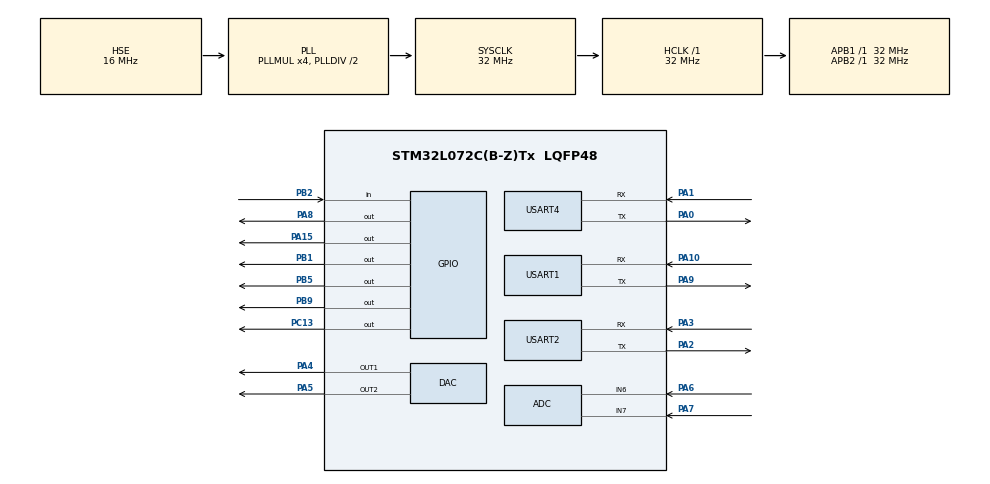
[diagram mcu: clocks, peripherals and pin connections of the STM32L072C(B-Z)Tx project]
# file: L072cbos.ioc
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CRC.InputDataFormat=CRC_INPUTDATA_FORMAT_WORDS
CRC.InputDataInversionMode=CRC_INPUTDATA_INVERSION_WORD
CRC.OutputDataInversionMode=CRC_OUTPUTDATA_INVERSION_ENABLE
Dma.Request0=USART1_RX
Dma.Request1=USART1_TX
Dma.Request2=USART2_RX
Dma.Request3=USART2_TX
Dma.USART1_RX.0.Direction=DMA_PERIPH_TO_MEMORY
Dma.USART1_RX.0.Instance=DMA1_Channel3
Dma.USART1_RX.0.MemDataAlignment=DMA_MDATAALIGN_BYTE
Dma.USART1_RX.0.MemInc=DMA_MINC_ENABLE
Dma.USART1_RX.0.Mode=DMA_NORMAL
Dma.USART1_RX.0.PeriphDataAlignment=DMA_PDATAALIGN_BYTE
Dma.USART1_RX.0.PeriphInc=DMA_PINC_DISABLE
Dma.USART1_RX.0.Priority=DMA_PRIORITY_LOW
Dma.USART1_TX.1.Direction=DMA_MEMORY_TO_PERIPH
Dma.USART1_TX.1.Instance=DMA1_Channel2
Dma.USART1_TX.1.MemDataAlignment=DMA_MDATAALIGN_BYTE
Dma.USART1_TX.1.MemInc=DMA_MINC_ENABLE
Dma.USART1_TX.1.Mode=DMA_NORMAL
Dma.USART1_TX.1.PeriphDataAlignment=DMA_PDATAALIGN_BYTE
Dma.USART1_TX.1.PeriphInc=DMA_PINC_DISABLE
Dma.USART1_TX.1.Priority=DMA_PRIORITY_LOW
Dma.USART2_RX.2.Direction=DMA_PERIPH_TO_MEMORY
Dma.USART2_RX.2.Instance=DMA1_Channel5
Dma.USART2_RX.2.MemDataAlignment=DMA_MDATAALIGN_BYTE
Dma.USART2_RX.2.MemInc=DMA_MINC_ENABLE
Dma.USART2_RX.2.Mode=DMA_NORMAL
Dma.USART2_RX.2.PeriphDataAlignment=DMA_PDATAALIGN_BYTE
Dma.USART2_RX.2.PeriphInc=DMA_PINC_DISABLE
Dma.USART2_RX.2.Priority=DMA_PRIORITY_LOW
Dma.USART2_TX.3.Direction=DMA_MEMORY_TO_PERIPH
Dma.USART2_TX.3.Instance=DMA1_Channel4
Dma.USART2_TX.3.MemDataAlignment=DMA_MDATAALIGN_BYTE
Dma.USART2_TX.3.MemInc=DMA_MINC_ENABLE
Dma.USART2_TX.3.Mode=DMA_NORMAL
Dma.USART2_TX.3.PeriphDataAlignment=DMA_PDATAALIGN_BYTE
Dma.USART2_TX.3.PeriphInc=DMA_PINC_DISABLE
Dma.USART2_TX.3.Priority=DMA_PRIORITY_LOW
FREERTOS.Tasks01=defaultTask,0,256,StartDefaultTask,Default,NULL,Dynamic,NULL,NULL
FREERTOS.configMINIMAL_STACK_SIZE=256
FREERTOS.configTOTAL_HEAP_SIZE=5120
Mcu.Family=STM32L0
Mcu.Name=STM32L072C(B-Z)Tx
Mcu.Package=LQFP48
NVIC.DMA1_Channel2_3_IRQn=true\:3\:0\:false\:false\:true\:true\:false\:true
NVIC.DMA1_Channel4_5_6_7_IRQn=true\:3\:0\:false\:false\:true\:true\:false\:true
NVIC.RTC_IRQn=true\:3\:0\:false\:false\:true\:true\:true\:true
NVIC.TIM2_IRQn=true\:0\:0\:false\:false\:true\:false\:false\:true
NVIC.TimeBase=TIM2_IRQn
NVIC.TimeBaseIP=TIM2
NVIC.USART1_IRQn=true\:3\:0\:false\:true\:true\:1\:true\:true\:true
NVIC.USART2_IRQn=true\:3\:0\:false\:false\:true\:true\:true\:true
PA0.Mode=Asynchronous
PA0.Signal=USART4_TX
PA1.Mode=Asynchronous
PA1.Signal=USART4_RX
PA10.Mode=Asynchronous
PA10.Signal=USART1_RX
PA13.Mode=Serial_Wire
PA13.Signal=SYS_SWDIO
PA14.Mode=Serial_Wire
PA14.Signal=SYS_SWCLK
PA15.Signal=GPIO_Output
PA2.Mode=Asynchronous
PA2.Signal=USART2_TX
PA3.Mode=Asynchronous
PA3.Signal=USART2_RX
PA4.Signal=COMP_DAC1_group
PA5.Signal=COMP_DAC2_group
PA6.Mode=IN6
PA6.Signal=ADC_IN6
PA7.Mode=IN7
PA7.Signal=ADC_IN7
PA8.Signal=GPIO_Output
PA9.Mode=Asynchronous
PA9.Signal=USART1_TX
PB1.Signal=GPIO_Output
PB2.Signal=GPIO_Input
PB5.Signal=GPIO_Output
PB9.Signal=GPIO_Output
PC13.Signal=GPIO_Output
PC14-OSC32_IN.Mode=LSE-External-Oscillator
PC14-OSC32_IN.Signal=RCC_OSC32_IN
PC15-OSC32_OUT.Mode=LSE-External-Oscillator
PC15-OSC32_OUT.Signal=RCC_OSC32_OUT
PH0-OSC_IN.Mode=HSE-External-Oscillator
PH0-OSC_IN.Signal=RCC_OSC_IN
PH1-OSC_OUT.Mode=HSE-External-Oscillator
PH1-OSC_OUT.Signal=RCC_OSC_OUT
ProjectManager.HeapSize=0x200
ProjectManager.StackSize=0x400
ProjectManager.TargetToolchain=SW4STM32
RCC.AHBFreq_Value=32000000
RCC.APB1Freq_Value=32000000
RCC.APB1TimFreq_Value=32000000
RCC.APB2Freq_Value=32000000
RCC.APB2TimFreq_Value=32000000
RCC.HCLKFreq_Value=32000000
RCC.HSE_VALUE=16000000
RCC.HSI16_VALUE=16000000
RCC.HSI48_VALUE=48000000
RCC.HSI_VALUE=16000000
RCC.MSI_VALUE=2097000
RCC.PLLMUL=RCC_PLLMUL_4
RCC.PLLSourceVirtual=RCC_PLLSOURCE_HSE
RCC.RTCClockSelection=RCC_RTCCLKSOURCE_LSE
RCC.RTCClockSelectionVirtual=RCC_RTCCLKSOURCE_LSE
RCC.SYSCLKFreq_VALUE=32000000
RCC.SYSCLKSource=RCC_SYSCLKSOURCE_PLLCLK
RCC.VCOOutputFreq_Value=64000000
RTC.Alarm-Alarm\ A=RTC_ALARM_A
RTC.Hours=1
RTC.Minutes=1
RTC.Seconds=1
RTC.WakeUpClock-WakeUp=RTC_WAKEUPCLOCK_CK_SPRE_16BITS
RTC.WakeUpCounter-WakeUp=10
RTC.Year=1
SH.COMP_DAC1_group.0=DAC_OUT1,DAC_OUT1
SH.COMP_DAC2_group.0=DAC_OUT2,DAC_OUT2
USART1.VirtualMode-Asynchronous=VM_ASYNC
USART2.VirtualMode-Asynchronous=VM_ASYNC
USART4.VirtualMode-Asynchronous=VM_ASYNC
VP_CRC_VS_CRC.Mode=CRC_Activate
VP_FREERTOS_VS_CMSIS_V1.Mode=CMSIS_V1
VP_RTC_VS_RTC_Activate.Mode=RTC_Enabled
VP_RTC_VS_RTC_Alarm_A_Intern.Mode=Alarm A
VP_RTC_VS_RTC_Calendar.Mode=RTC_Calendar
VP_RTC_VS_RTC_WakeUp_intern.Mode=WakeUp
VP_SYS_VS_tim2.Mode=TIM2
board=custom

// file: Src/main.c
/* USER CODE BEGIN Header */
/**
 ******************************************************************************
 * @file           : main.c
 * @brief          : Main program body
 ******************************************************************************
 * @attention
 *
 * <h2><center>&copy; Copyright (c) 2020 STMicroelectronics.
 * All rights reserved.</center></h2>
 *
 * This software component is licensed by ST under Ultimate Liberty license
 * SLA0044, the "License"; You may not use this file except in compliance with
 * the License. You may obtain a copy of the License at:
 *                             www.st.com/SLA0044
 *
 ******************************************************************************
 */
/* USER CODE END Header */

#include "main.h"
#include "cmsis_os.h"
#include "adc.h"
#include "crc.h"
#include "dac.h"
#include "dma.h"
#include "rtc.h"
#include "usart.h"
#include "gpio.h"

/* USER CODE BEGIN Includes */
const uint32_t mMAGIC = MAGIC_NUMBER;
const char mPROG[PROG_NAME_MAX_LEN] = PROG_NAME;
const uint32_t mVERSION = MAJOR_VERSION << MAJOR_VERSION_POS
		| MINOR_VERSION << MINOR_VERSION_POS | REV_VERSION << REV_VERSION_POS
		| PATCH_VERSION << PATCH_VERSION_POS;

const uint32_t mDATE = DATE_YEAR << DATE_YEAR_POS | DATE_DAY << DATE_DAY_POS
		| DATE_MONTH << DATE_MONTH_POS;
// const uint32_t mFILECRC =  0x0u;

/* USER CODE END Includes */

/* USER CODE BEGIN PM */
#define PUTCHAR_PROTOTYPE int __io_putchar(int ch)

PUTCHAR_PROTOTYPE {
	/* Place your implementation of fputc here */
	/* e.g. write a character to the USART2 and Loop until the end of transmission */
	HAL_UART_Transmit(&huart4, (uint8_t *) &ch, 1, 0xFFFF);

	return ch;
}
/* USER CODE END PM */

void SystemClock_Config(void);
void MX_FREERTOS_Init(void);
static void MX_NVIC_Init(void);

int main(void)
{

  /* MCU Configuration--------------------------------------------------------*/

  /* Reset of all peripherals, Initializes the Flash interface and the Systick. */
  HAL_Init();

  /* Configure the system clock */
  SystemClock_Config();

  /* Initialize all configured peripherals */
  MX_GPIO_Init();
  MX_DMA_Init();
  MX_RTC_Init();
  MX_ADC_Init();
  MX_DAC_Init();
  MX_USART1_UART_Init();
  MX_USART2_UART_Init();
  MX_USART4_UART_Init();
  MX_CRC_Init();

  /* Initialize interrupts */
  MX_NVIC_Init();
  /* USER CODE BEGIN 2 */
//  HAL_GPIO_WritePin(GPIOC, GPIO_PIN_13, GPIO_PIN_SET);
//  HAL_GPIO_WritePin(GPIOA, GPIO_PIN_8, GPIO_PIN_SET);
	HAL_GPIO_WritePin(GPIOB, GPIO_PIN_5, GPIO_PIN_SET);

	printf("\r\n-- Beginning ...  ---\r\n");
	// __HAL_UART_FLUSH_DRREGISTER(&huart1);

	testCRC32();

	dualBankOps();

  /* USER CODE END 2 */

  /* Call init function for freertos objects (in freertos.c) */
  MX_FREERTOS_Init();

  /* Start scheduler */
  osKernelStart();

  /* We should never get here as control is now taken by the scheduler */

  /* Infinite loop */
	while (1) {
	}

}

void SystemClock_Config(void)
{
  RCC_OscInitTypeDef RCC_OscInitStruct = {0};
  RCC_ClkInitTypeDef RCC_ClkInitStruct = {0};
  RCC_PeriphCLKInitTypeDef PeriphClkInit = {0};

  /** Configure the main internal regulator output voltage
  */
  __HAL_PWR_VOLTAGESCALING_CONFIG(PWR_REGULATOR_VOLTAGE_SCALE1);
  /** Configure LSE Drive Capability
  */
  HAL_PWR_EnableBkUpAccess();
  __HAL_RCC_LSEDRIVE_CONFIG(RCC_LSEDRIVE_LOW);
  /** Initializes the CPU, AHB and APB busses clocks
  */
  RCC_OscInitStruct.OscillatorType = RCC_OSCILLATORTYPE_HSE|RCC_OSCILLATORTYPE_LSE;
  RCC_OscInitStruct.HSEState = RCC_HSE_ON;
  RCC_OscInitStruct.LSEState = RCC_LSE_ON;
  RCC_OscInitStruct.PLL.PLLState = RCC_PLL_ON;
  RCC_OscInitStruct.PLL.PLLSource = RCC_PLLSOURCE_HSE;
  RCC_OscInitStruct.PLL.PLLMUL = RCC_PLLMUL_4;
  RCC_OscInitStruct.PLL.PLLDIV = RCC_PLLDIV_2;
  if (HAL_RCC_OscConfig(&RCC_OscInitStruct) != HAL_OK)
  {
    Error_Handler();
  }
  /** Initializes the CPU, AHB and APB busses clocks
  */
  RCC_ClkInitStruct.ClockType = RCC_CLOCKTYPE_HCLK|RCC_CLOCKTYPE_SYSCLK
                              |RCC_CLOCKTYPE_PCLK1|RCC_CLOCKTYPE_PCLK2;
  RCC_ClkInitStruct.SYSCLKSource = RCC_SYSCLKSOURCE_PLLCLK;
  RCC_ClkInitStruct.AHBCLKDivider = RCC_SYSCLK_DIV1;
  RCC_ClkInitStruct.APB1CLKDivider = RCC_HCLK_DIV1;
  RCC_ClkInitStruct.APB2CLKDivider = RCC_HCLK_DIV1;

  if (HAL_RCC_ClockConfig(&RCC_ClkInitStruct, FLASH_LATENCY_1) != HAL_OK)
  {
    Error_Handler();
  }
  PeriphClkInit.PeriphClockSelection = RCC_PERIPHCLK_USART1|RCC_PERIPHCLK_USART2
                              |RCC_PERIPHCLK_RTC;
  PeriphClkInit.Usart1ClockSelection = RCC_USART1CLKSOURCE_PCLK2;
  PeriphClkInit.Usart2ClockSelection = RCC_USART2CLKSOURCE_PCLK1;
  PeriphClkInit.RTCClockSelection = RCC_RTCCLKSOURCE_LSE;
  if (HAL_RCCEx_PeriphCLKConfig(&PeriphClkInit) != HAL_OK)
  {
    Error_Handler();
  }
}

/**
  * @brief NVIC Configuration.
  * @retval None
  */
static void MX_NVIC_Init(void)
{
  /* USART1_IRQn interrupt configuration */
  HAL_NVIC_SetPriority(USART1_IRQn, 3, 0);
  HAL_NVIC_EnableIRQ(USART1_IRQn);
}

void HAL_TIM_PeriodElapsedCallback(TIM_HandleTypeDef *htim)
{
  if (htim->Instance == TIM2) {
    HAL_IncTick();
  }
}

void Error_Handler(void)
{
}

/************************ (C) COPYRIGHT STMicroelectronics *****END OF FILE****/

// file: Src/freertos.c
/* USER CODE BEGIN Header */
/**
 ******************************************************************************
 * File Name          : freertos.c
 * Description        : Code for freertos applications
 ******************************************************************************
 * @attention
 *
 * <h2><center>&copy; Copyright (c) 2020 STMicroelectronics.
 * All rights reserved.</center></h2>
 *
 * This software component is licensed by ST under Ultimate Liberty license
 * SLA0044, the "License"; You may not use this file except in compliance with
 * the License. You may obtain a copy of the License at:
 *                             www.st.com/SLA0044
 *
 ******************************************************************************
 */
/* USER CODE END Header */

#include "FreeRTOS.h"
#include "task.h"
#include "main.h"
#include "cmsis_os.h"

/* USER CODE BEGIN Includes */
#include "usart.h"
#include <string.h>
#include <stdio.h>
#include "dual_bank.h"
#include "cust_hal_uart.h"
#include "gpio.h"
#include "nbmodule.h"
#include "rtc.h"
/* USER CODE END Includes */

/* USER CODE BEGIN Variables */
extern CRC_HandleTypeDef hcrc;
uint8_t dummyBuf[128] = { 0 };
UartTermStr  termThread;
UartTermStr  moduleThread;
osThreadId  defaultTaskHandle;

osSemaphoreId uart4Semid;
//char cBuffer[RXBUFFERSIZE + 24] = { 0 };
char rxBuffer1[RXBUFFERSIZE];
char tmpBuffer1[2*RXBUFFERSIZE];

char rxBuffer2[ATBUFFERSIZE];
char tmpBuffer2[ATBUFFERSIZE];

/* USER CODE END Variables */
osThreadId defaultTaskHandle;

/* USER CODE BEGIN FunctionPrototypes */
// void uart1Thread(void const *argument);
//void safePrintf(char * str);
// void processRx1Data(char * str, int start, int end);
// HAL_StatusTypeDef custHAL_UART_Receive_DMA(UART_HandleTypeDef *huart,
//		uint8_t *pData, uint16_t Size);
// void handleStateNone(char ch);
// void handleStateDownloading(char ch);
void uart1ThreadEx(void const *argument);
void uart2Thread(void const *argument);
/* USER CODE END FunctionPrototypes */

void StartDefaultTask(void const * argument);

void MX_FREERTOS_Init(void); /* (MISRA C 2004 rule 8.1) */

/* GetIdleTaskMemory prototype (linked to static allocation support) */
void vApplicationGetIdleTaskMemory( StaticTask_t **ppxIdleTaskTCBBuffer, StackType_t **ppxIdleTaskStackBuffer, uint32_t *pulIdleTaskStackSize );

/* USER CODE BEGIN GET_IDLE_TASK_MEMORY */
static StaticTask_t xIdleTaskTCBBuffer;
static StackType_t xIdleStack[configMINIMAL_STACK_SIZE];

void vApplicationGetIdleTaskMemory(StaticTask_t **ppxIdleTaskTCBBuffer,
		StackType_t **ppxIdleTaskStackBuffer, uint32_t *pulIdleTaskStackSize) {
	*ppxIdleTaskTCBBuffer = &xIdleTaskTCBBuffer;
	*ppxIdleTaskStackBuffer = &xIdleStack[0];
	*pulIdleTaskStackSize = configMINIMAL_STACK_SIZE;
	/* place for user code */
}
/* USER CODE END GET_IDLE_TASK_MEMORY */

void MX_FREERTOS_Init(void) {
  /* USER CODE BEGIN Init */
	termThread.bInRx = 0;
	termThread.rxBuffer = rxBuffer1;
	termThread.tmpBuffer = tmpBuffer1;

	moduleThread.bInRx =0;
	moduleThread.rxBuffer = rxBuffer2;
	moduleThread.tmpBuffer = tmpBuffer2;

  /* USER CODE END Init */

  /* Create the thread(s) */
  /* definition and creation of defaultTask */
  osThreadDef(defaultTask, StartDefaultTask, osPriorityNormal, 0, 256);
  defaultTaskHandle = osThreadCreate(osThread(defaultTask), NULL);

  /* USER CODE BEGIN RTOS_THREADS */
	/* add threads, ... */

	osThreadDef(taskUart1, uart1ThreadEx, osPriorityNormal, 0, 256);
	termThread.tId = osThreadCreate(osThread(taskUart1), NULL);

	osThreadDef(taskUart2, uart2Thread, osPriorityNormal, 0, 256);
	moduleThread.tId = osThreadCreate(osThread(taskUart2), NULL);

	/*  */
	osSemaphoreDef(semLogOut);
	uart4Semid = osSemaphoreCreate(osSemaphore(semLogOut), 1);

	osMessageQDef(osqueuerx1, 6, uint16_t);
	termThread.rxQ = osMessageCreate(osMessageQ(osqueuerx1), NULL);

	osMessageQDef(osqueuetx1, 3, uint16_t);
	termThread.txQ = osMessageCreate(osMessageQ(osqueuetx1), NULL);

	osMessageQDef(osqueuerx2, 6, uint16_t);
	moduleThread.rxQ = osMessageCreate(osMessageQ(osqueuerx2), NULL);

	osMessageQDef(osqueuetx2, 3, uint16_t);
	moduleThread.txQ = osMessageCreate(osMessageQ(osqueuetx2), NULL);

  /* USER CODE END RTOS_THREADS */

}

void StartDefaultTask(void const * argument)
{
  /* USER CODE BEGIN StartDefaultTask */
	/* Infinite loop */
	for (;;) {
		osDelay(500);

		HAL_GPIO_TogglePin(GPIOB, GPIO_PIN_5);
	}
	osThreadTerminate(NULL);
  /* USER CODE END StartDefaultTask */
}

/* USER CODE BEGIN Application */
void uart2Thread(void const *argument) {
	HAL_StatusTypeDef result;
	uint16_t len,i;
	osEvent event;

	printf("uart2Thread started ...\r\n");

	while(1){
		event = osSignalWait (0x01, 2000);
	    if (event.status == osEventSignal)  {
	          // handle event status
	    	printf("Wakeup received.\r\n");
	    	// osSignalClear(moduleThread.tId, 0x01);
	    }
		RTC_TimeShow();

	}

	safePrintf("Power on NB module");

	onVDDIO();
	onNBModule();
	onPowerOn();
	osDelay(2000);
	offPowerOn();
	osDelay(5000);

	safePrintf("Power on");

	initATEnv();

	testATCmd();

	while(1){
		 osDelay(2000);
		 Module_Put("\r\nAT\r\n");

		 if(Module_GetAPacket((uint8_t*)moduleThread.rxBuffer, 200) == PACKET_VALID
				&& isPacketOK((uint8_t*)moduleThread.rxBuffer) == 0){
			 printf("Received AT response\r\n");
		 }
	}
}

void uart1ThreadEx(void const *argument) {

	HAL_StatusTypeDef result;
	FLASHIF_StatusTypeDef resultFlash;
	uint32_t wData;
	char ch;
	uint16_t len;

	printf("uart1Thread started ...\r\n");

	while (1) {
//		osDelay(500);
//		continue;
		printf("\r\nPlease input:\r\n");
		len = 1;
		result = custHAL_UART_Receive(&huart1, (uint8_t *) &ch, &len, 5000);
		printf("result:%d\r\n", result);

		if (result != HAL_OK) {
			continue;
		}
		printf("ch:%d\r\n", ch);
		switch (ch) {
		case '0':
			safePrintf("Restart user App\r\n");
			osDelay(2000);
			HAL_NVIC_SystemReset();
			break;
		case '1':
			safePrintf("Download user application into the Flash\r\n");
			result = SerialDownload();
			if (result == HAL_OK) {
				safePrintf("Download succeed\r\n");
			} else {
				printf("Download fail %d\r\n", result);
			}
			break;
		case '2':
			safePrintf("Erase the other bank\r\n");
			resultFlash = FLASH_If_Erase();
			if (resultFlash == FLASHIF_OK) {
				safePrintf("Erase OK\r\n");
			} else {
				safePrintf("Erase fail\r\n");
			}
			break;
		case '3':
			safePrintf("Some test\r\n");

//			resultFlash = FLASH_If_Write(FLASH_START_BANK2, (uint32_t *)dummyBuf, 32);
//
//			printf("resultFlash:%d\r\n", resultFlash);
			break;
		case '4':
			safePrintf("Print the other bank\r\n");
			printOtherBank();
//			resultFlash = FLASH_If_Check(FLASH_START_BANK2);
//			if(resultFlash == FLASHIF_OK){
//				safePrintf("Check OK\r\n");
//			}else{
//				printf("Check fail %d\r\n", resultFlash);
//			}
			break;
		case '5':
			safePrintf("Check the other bank CRC32\r\n");
			wData = HAL_CRC_Calculate(&hcrc, (uint32_t *) FLASH_START_BANK2,
			FLASH_WORDS_BANK2);
			printf("CRC32 %lx\r\n", 0xFFFFFFFF ^ wData);

			break;
		case '6':
			safePrintf("Switch to the other bank\r\n");
			resultFlash = FLASH_If_BankSwitch();
			if (resultFlash == FLASHIF_OK) {
				safePrintf("Switch bank ok.\r\n");
			} else {
				safePrintf("Switch bank failed!\r\n");
			}
			break;
		case '7':
			safePrintf("Print firmware info:\r\n");

			printf("Version: %d.%d.%d.%d\r\n",
			MAJOR_VERSION,
			MINOR_VERSION,
			REV_VERSION,
			PATCH_VERSION);
			break;
		case '8':
			safePrintf("Pressed 8");
			break;
		case '9':
			safePrintf("Pressed 9");
			break;
		case 'h':
			safePrintf("Help");
			menu();
			break;
		case 'o':
			safePrintf("Open NB module");
			onNBModule();
			onVDDIO();
			break;
		case 's':
			safePrintf("Shutdown NB module");
			offNBModule();
			offVDDIO();
			break;
		case 'b':
			safePrintf("Power on NB module");
			onPowerOn();
			osDelay(2000);
			offPowerOn();
			break;
		case 'd':
			safePrintf("Power on NB module");
			offPowerOn();
			break;
		default:
			printf("Default:%d\r\n", ch);
			break;
		}
	}

}

/***********************************************************************************/

/* USER CODE END Application */

/************************ (C) COPYRIGHT STMicroelectronics *****END OF FILE****/
